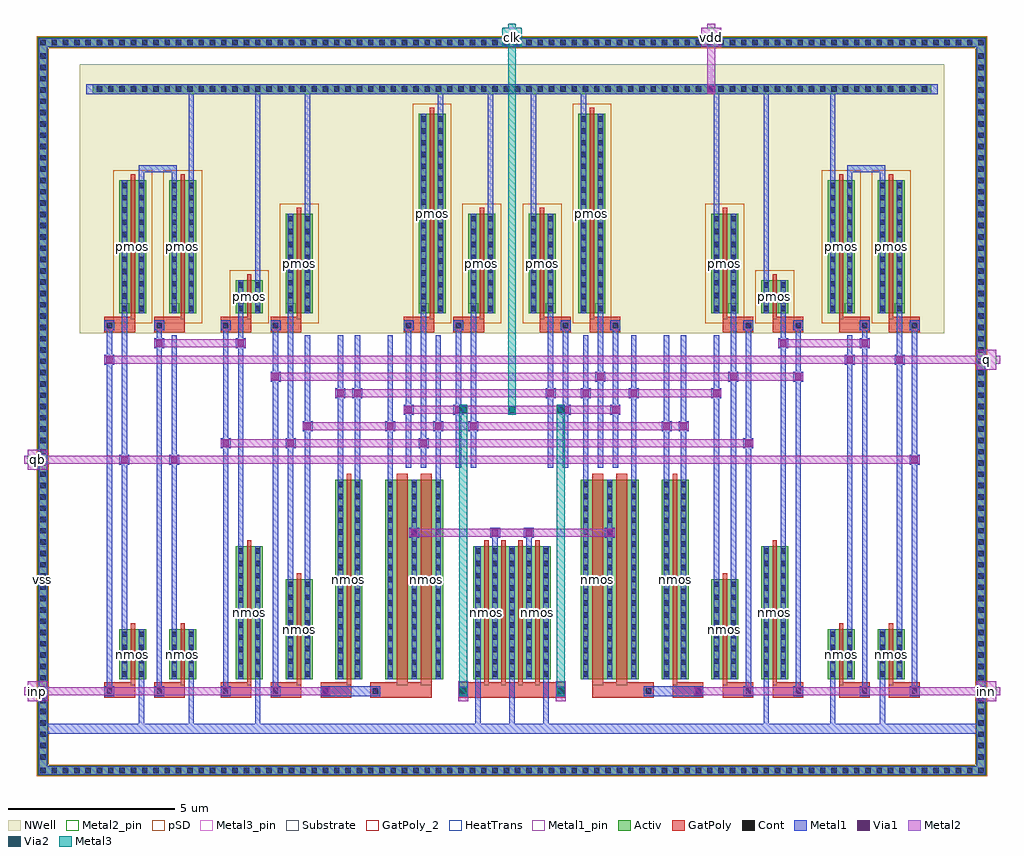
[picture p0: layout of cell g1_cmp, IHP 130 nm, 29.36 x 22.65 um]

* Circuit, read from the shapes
.subckt g1_cmp clk inn inp q qb vdd vss
XM1 vss q qb vss sg13_lv_nmos w=1.5u l=0.13u
XM2 vss n1 qb vss sg13_lv_nmos w=1.5u l=0.13u
XM3 vss n2 n1 vss sg13_lv_nmos w=4u l=0.13u
XM4 n3 n4 n2 vss sg13_lv_nmos w=3u l=0.13u
XM5 n5 inp n5 vss sg13_lv_nmos w=6u l=0.13u
XM6 n6 inp n3 vss sg13_lv_nmos w=6u l=0.34u m=2
XM7 n6 clk vss vss sg13_lv_nmos w=4u l=0.13u m=4
XM8 n6 inn n5 vss sg13_lv_nmos w=6u l=0.34u m=2
XM9 n3 inn n3 vss sg13_lv_nmos w=6u l=0.13u
XM10 n4 n2 n5 vss sg13_lv_nmos w=3u l=0.13u
XM11 n7 n4 vss vss sg13_lv_nmos w=4u l=0.13u
XM12 q n7 vss vss sg13_lv_nmos w=1.5u l=0.13u
XM13 q qb vss vss sg13_lv_nmos w=1.5u l=0.13u
XM14 n8 q qb vdd sg13_lv_pmos w=4u l=0.13u
XM15 vdd n1 n8 vdd sg13_lv_pmos w=4u l=0.13u
XM16 vdd n2 n1 vdd sg13_lv_pmos w=1u l=0.13u
XM17 vdd n4 n2 vdd sg13_lv_pmos w=3u l=0.13u
XM18 vdd clk n2 vdd sg13_lv_pmos w=6u l=0.13u
XM19 vdd clk n3 vdd sg13_lv_pmos w=3u l=0.13u
XM20 n5 clk vdd vdd sg13_lv_pmos w=3u l=0.13u
XM21 n4 clk vdd vdd sg13_lv_pmos w=6u l=0.13u
XM22 n4 n2 vdd vdd sg13_lv_pmos w=3u l=0.13u
XM23 n7 n4 vdd vdd sg13_lv_pmos w=1u l=0.13u
XM24 n9 n7 vdd vdd sg13_lv_pmos w=4u l=0.13u
XM25 q qb n9 vdd sg13_lv_pmos w=4u l=0.13u
.ends

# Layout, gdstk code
import gdstk
lib = gdstk.Library(unit=1e-6, precision=1e-09)
def R(c, l, rs):  # rectangles x0, y0, x1, y1
    for r in rs: c.add(gdstk.rectangle(r[:2], r[2:], *l))
def A(c, l, x, y, w, h, nx, ny, dx, dy):  # array of equal rectangles
    R(c, l, [(x+i*dx, y+j*dy, x+i*dx+w, y+j*dy+h) for i in range(nx) for j in range(ny)])
def P(c, l, *ps):  # polygons
    for p in ps: c.add(gdstk.Polygon(p, *l))
Activ = (1, 0)
GatPoly = (5, 0)
GatPoly_2 = (5, 2)
Cont = (6, 0)
Metal1 = (8, 0)
Metal1_pin = (8, 2)
Metal2 = (10, 0)
Metal2_pin = (10, 2)
pSD = (14, 0)
Via1 = (19, 0)
Via2 = (29, 0)
Metal3 = (30, 0)
Metal3_pin = (30, 2)
NWell = (31, 0)
Substrate = (40, 0)
HeatTrans = (51, 0)

g1_cmp = lib.new_cell('g1_cmp')
A(g1_cmp, Activ, -3.81, 0, 0.3, 0.3, 3, 1, 0.72, 0)
A(g1_cmp, Activ, -1.17, 0, 0.3, 0.3, 5, 1, 0.51, 0)
A(g1_cmp, Activ, 2.07, 0, 0.3, 0.3, 3, 1, 0.72, 0)
R(g1_cmp, Activ, [(-11.81,0,-11.51,0.3), (-11.81,0,-11,1.5), (-11.3,0,-11,0.3), (-10.31,0,-10.01,0.3), (-10.31,0,-9.5,1.5), (-9.8,0,-9.5,0.3), (-8.31,0,-8.01,0.3), (-8.31,0,-7.5,4), (-7.8,0,-7.5,0.3), (-6.81,0,-6.51,0.3), (-6.81,0,-6,3), (-6.3,0,-6,0.3), (-5.31,0,-5.01,0.3), (-5.31,0,-4.5,6), (-4.8,0,-4.5,0.3), (-3.81,0,-2.07,6), (-1.17,0,1.17,4), (2.07,0,3.81,6), (4.5,0,4.8,0.3), (4.5,0,5.31,6), (5.01,0,5.31,0.3), (6,0,6.3,0.3), (6,0,6.81,3), (6.51,0,6.81,0.3), (7.5,0,7.8,0.3), (7.5,0,8.31,4), (8.01,0,8.31,0.3), (9.5,0,9.8,0.3), (9.5,0,10.31,1.5), (10.01,0,10.31,0.3), (11,0,11.3,0.3), (11,0,11.81,1.5), (11.51,0,11.81,0.3), (-11.81,11,-11.51,11.3), (-11.81,11,-11,15), (-11.3,11,-11,11.3), (-10.31,11,-10.01,11.3), (-10.31,11,-9.5,15), (-9.8,11,-9.5,11.3), (-8.31,11,-8.01,11.3), (-8.31,11,-7.5,12), (-7.8,11,-7.5,11.3), (-6.81,11,-6.51,11.3), (-6.81,11,-6,14), (-6.3,11,-6,11.3), (-2.81,11,-2.51,11.3), (-2.81,11,-2,17), (-2.3,11,-2,11.3), (-1.31,11,-1.01,11.3), (-1.31,11,-0.5,14), (-0.8,11,-0.5,11.3), (0.5,11,0.8,11.3), (0.5,11,1.31,14), (1.01,11,1.31,11.3), (2,11,2.3,11.3), (2,11,2.81,17), (2.51,11,2.81,11.3), (6,11,6.3,11.3), (6,11,6.81,14), (6.51,11,6.81,11.3), (7.5,11,7.8,11.3), (7.5,11,8.31,12), (8.01,11,8.31,11.3), (9.5,11,9.8,11.3), (9.5,11,10.31,15), (10.01,11,10.31,11.3), (11,11,11.3,11.3), (11,11,11.81,15), (11.51,11,11.81,11.3), (-12.61,17.6,12.61,17.9)])
P(g1_cmp, Activ, [(-14.26,-2.9),(-14.26,19),(-13.96,19),(-13.96,-2.6),(13.96,-2.6),(13.96,19),(-14.26,19),(-14.26,19.3),(14.26,19.3),(14.26,-2.9)])
A(g1_cmp, GatPoly, -8.76, -0.56, 0.92, 0.46, 3, 1, 1.5, 0)
A(g1_cmp, GatPoly, 4.84, -0.56, 0.92, 0.46, 3, 1, 1.5, 0)
A(g1_cmp, GatPoly, -0.83, -0.18, 0.13, 4.36, 4, 1, 0.51, 0)
R(g1_cmp, GatPoly, [(-12.26,-0.56,-11.34,-0.1), (-10.76,-0.56,-9.84,-0.1), (-4.26,-0.56,-2.41,-0.1), (-1.62,-0.56,0.83,-0.1), (-0.83,-0.56,1.62,-0.1), (2.41,-0.56,4.26,-0.1), (9.84,-0.56,10.76,-0.1), (11.34,-0.56,12.26,-0.1), (-11.47,-0.18,-11.34,1.68), (-9.97,-0.18,-9.84,1.68), (-7.97,-0.18,-7.84,4.18), (-6.47,-0.18,-6.34,3.18), (-4.97,-0.18,-4.84,6.18), (-3.47,-0.18,-3.13,6.18), (-2.75,-0.18,-2.41,6.18), (2.41,-0.18,2.75,6.18), (3.13,-0.18,3.47,6.18), (4.84,-0.18,4.97,6.18), (6.34,-0.18,6.47,3.18), (7.84,-0.18,7.97,4.18), (9.84,-0.18,9.97,1.68), (11.34,-0.18,11.47,1.68), (-12.26,10.44,-11.34,10.9), (-10.76,10.44,-9.84,10.9), (-8.76,10.44,-7.84,10.9), (-7.26,10.44,-6.34,10.9), (-3.26,10.44,-2.34,10.9), (-1.76,10.44,-0.84,10.9), (0.84,10.44,1.76,10.9), (2.34,10.44,3.26,10.9), (6.34,10.44,7.26,10.9), (7.84,10.44,8.76,10.9), (9.84,10.44,10.76,10.9), (11.34,10.44,12.26,10.9), (-11.47,10.82,-11.34,15.18), (-11.47,10.82,-11.34,15.18), (-9.97,10.82,-9.84,15.18), (-9.97,10.82,-9.84,15.18), (-7.97,10.82,-7.84,12.18), (-7.97,10.82,-7.84,12.18), (-6.47,10.82,-6.34,14.18), (-6.47,10.82,-6.34,14.18), (-2.47,10.82,-2.34,17.18), (-2.47,10.82,-2.34,17.18), (-0.97,10.82,-0.84,14.18), (-0.97,10.82,-0.84,14.18), (0.84,10.82,0.97,14.18), (0.84,10.82,0.97,14.18), (2.34,10.82,2.47,17.18), (2.34,10.82,2.47,17.18), (6.34,10.82,6.47,14.18), (6.34,10.82,6.47,14.18), (7.84,10.82,7.97,12.18), (7.84,10.82,7.97,12.18), (9.84,10.82,9.97,15.18), (9.84,10.82,9.97,15.18), (11.34,10.82,11.47,15.18), (11.34,10.82,11.47,15.18)])
R(g1_cmp, GatPoly_2, [(-11.47,-0.18,-11.34,1.68), (-9.97,-0.18,-9.84,1.68), (-7.97,-0.18,-7.84,4.18), (-6.47,-0.18,-6.34,3.18), (-4.97,-0.18,-4.84,6.18), (-2.75,-0.18,-2.41,6.18), (-0.83,-0.18,-0.7,4.18), (2.41,-0.18,2.75,6.18), (4.84,-0.18,4.97,6.18), (6.34,-0.18,6.47,3.18), (7.84,-0.18,7.97,4.18), (9.84,-0.18,9.97,1.68), (11.34,-0.18,11.47,1.68)])
A(g1_cmp, Cont, -14.19, -2.83, 0.16, 0.16, 84, 2, 0.34, 21.9)
A(g1_cmp, Cont, -14.19, -2.42, 0.16, 0.16, 1, 63, 0, 0.34)
A(g1_cmp, Cont, 14.03, -2.42, 0.16, 0.16, 1, 63, 0, 0.34)
A(g1_cmp, Cont, -8.69, -0.44, 0.16, 0.16, 4, 1, 1.5, 0)
A(g1_cmp, Cont, 4.03, -0.44, 0.16, 0.16, 4, 1, 1.5, 0)
A(g1_cmp, Cont, -11.74, 0.07, 0.16, 0.16, 1, 4, 0, 0.4)
A(g1_cmp, Cont, -11.23, 0.07, 0.16, 0.16, 1, 4, 0, 0.4)
A(g1_cmp, Cont, -10.24, 0.07, 0.16, 0.16, 1, 4, 0, 0.4)
A(g1_cmp, Cont, -9.73, 0.07, 0.16, 0.16, 1, 4, 0, 0.4)
A(g1_cmp, Cont, -8.24, 0.07, 0.16, 0.16, 1, 11, 0, 0.37)
A(g1_cmp, Cont, -7.73, 0.07, 0.16, 0.16, 1, 11, 0, 0.37)
A(g1_cmp, Cont, -6.74, 0.07, 0.16, 0.16, 1, 7, 0, 0.385)
A(g1_cmp, Cont, -6.23, 0.07, 0.16, 0.16, 1, 7, 0, 0.385)
A(g1_cmp, Cont, -5.24, 0.07, 0.16, 0.16, 1, 4, 0, 0.355)
A(g1_cmp, Cont, -4.73, 0.07, 0.16, 0.16, 1, 4, 0, 0.355)
A(g1_cmp, Cont, -3.74, 0.07, 0.16, 0.16, 3, 4, 0.72, 0.355)
A(g1_cmp, Cont, -1.1, 0.07, 0.16, 0.16, 5, 11, 0.51, 0.37)
A(g1_cmp, Cont, 2.14, 0.07, 0.16, 0.16, 3, 4, 0.72, 0.355)
A(g1_cmp, Cont, 4.57, 0.07, 0.16, 0.16, 1, 4, 0, 0.355)
A(g1_cmp, Cont, 5.08, 0.07, 0.16, 0.16, 1, 4, 0, 0.355)
A(g1_cmp, Cont, 6.07, 0.07, 0.16, 0.16, 1, 7, 0, 0.385)
A(g1_cmp, Cont, 6.58, 0.07, 0.16, 0.16, 1, 7, 0, 0.385)
A(g1_cmp, Cont, 7.57, 0.07, 0.16, 0.16, 1, 11, 0, 0.37)
A(g1_cmp, Cont, 8.08, 0.07, 0.16, 0.16, 1, 11, 0, 0.37)
A(g1_cmp, Cont, 9.57, 0.07, 0.16, 0.16, 1, 4, 0, 0.4)
A(g1_cmp, Cont, 10.08, 0.07, 0.16, 0.16, 1, 4, 0, 0.4)
A(g1_cmp, Cont, 11.07, 0.07, 0.16, 0.16, 1, 4, 0, 0.4)
A(g1_cmp, Cont, 11.58, 0.07, 0.16, 0.16, 1, 4, 0, 0.4)
A(g1_cmp, Cont, -5.24, 1.495, 0.16, 0.16, 1, 4, 0, 0.355)
A(g1_cmp, Cont, -4.73, 1.495, 0.16, 0.16, 1, 4, 0, 0.355)
A(g1_cmp, Cont, -3.74, 1.495, 0.16, 0.16, 3, 4, 0.72, 0.355)
A(g1_cmp, Cont, 2.14, 1.495, 0.16, 0.16, 3, 4, 0.72, 0.355)
A(g1_cmp, Cont, 4.57, 1.495, 0.16, 0.16, 1, 4, 0, 0.355)
A(g1_cmp, Cont, 5.08, 1.495, 0.16, 0.16, 1, 4, 0, 0.355)
A(g1_cmp, Cont, -5.24, 2.92, 0.16, 0.16, 1, 4, 0, 0.355)
A(g1_cmp, Cont, -4.73, 2.92, 0.16, 0.16, 1, 4, 0, 0.355)
A(g1_cmp, Cont, -3.74, 2.92, 0.16, 0.16, 3, 4, 0.72, 0.355)
A(g1_cmp, Cont, 2.14, 2.92, 0.16, 0.16, 3, 4, 0.72, 0.355)
A(g1_cmp, Cont, 4.57, 2.92, 0.16, 0.16, 1, 4, 0, 0.355)
A(g1_cmp, Cont, 5.08, 2.92, 0.16, 0.16, 1, 4, 0, 0.355)
A(g1_cmp, Cont, -5.24, 4.345, 0.16, 0.16, 1, 4, 0, 0.355)
A(g1_cmp, Cont, -4.73, 4.345, 0.16, 0.16, 1, 4, 0, 0.355)
A(g1_cmp, Cont, -3.74, 4.345, 0.16, 0.16, 3, 4, 0.72, 0.355)
A(g1_cmp, Cont, 2.14, 4.345, 0.16, 0.16, 3, 4, 0.72, 0.355)
A(g1_cmp, Cont, 4.57, 4.345, 0.16, 0.16, 1, 4, 0, 0.355)
A(g1_cmp, Cont, 5.08, 4.345, 0.16, 0.16, 1, 4, 0, 0.355)
A(g1_cmp, Cont, -3.74, 5.77, 0.16, 0.16, 3, 1, 0.72, 0)
A(g1_cmp, Cont, 2.14, 5.77, 0.16, 0.16, 3, 1, 0.72, 0)
A(g1_cmp, Cont, -11.74, 11.07, 0.16, 0.16, 1, 11, 0, 0.37)
A(g1_cmp, Cont, -11.23, 11.07, 0.16, 0.16, 1, 11, 0, 0.37)
A(g1_cmp, Cont, -10.24, 11.07, 0.16, 0.16, 1, 11, 0, 0.37)
A(g1_cmp, Cont, -9.73, 11.07, 0.16, 0.16, 1, 11, 0, 0.37)
A(g1_cmp, Cont, -8.24, 11.07, 0.16, 0.16, 1, 3, 0, 0.35)
A(g1_cmp, Cont, -7.73, 11.07, 0.16, 0.16, 1, 3, 0, 0.35)
A(g1_cmp, Cont, -6.74, 11.07, 0.16, 0.16, 1, 7, 0, 0.385)
A(g1_cmp, Cont, -6.23, 11.07, 0.16, 0.16, 1, 7, 0, 0.385)
A(g1_cmp, Cont, -2.74, 11.07, 0.16, 0.16, 1, 4, 0, 0.355)
A(g1_cmp, Cont, -2.23, 11.07, 0.16, 0.16, 1, 4, 0, 0.355)
A(g1_cmp, Cont, -1.24, 11.07, 0.16, 0.16, 1, 7, 0, 0.385)
A(g1_cmp, Cont, -0.73, 11.07, 0.16, 0.16, 1, 7, 0, 0.385)
A(g1_cmp, Cont, 0.57, 11.07, 0.16, 0.16, 1, 7, 0, 0.385)
A(g1_cmp, Cont, 1.08, 11.07, 0.16, 0.16, 1, 7, 0, 0.385)
A(g1_cmp, Cont, 2.07, 11.07, 0.16, 0.16, 1, 4, 0, 0.355)
A(g1_cmp, Cont, 2.58, 11.07, 0.16, 0.16, 1, 4, 0, 0.355)
A(g1_cmp, Cont, 6.07, 11.07, 0.16, 0.16, 1, 7, 0, 0.385)
A(g1_cmp, Cont, 6.58, 11.07, 0.16, 0.16, 1, 7, 0, 0.385)
A(g1_cmp, Cont, 7.57, 11.07, 0.16, 0.16, 1, 3, 0, 0.35)
A(g1_cmp, Cont, 8.08, 11.07, 0.16, 0.16, 1, 3, 0, 0.35)
A(g1_cmp, Cont, 9.57, 11.07, 0.16, 0.16, 1, 11, 0, 0.37)
A(g1_cmp, Cont, 10.08, 11.07, 0.16, 0.16, 1, 11, 0, 0.37)
A(g1_cmp, Cont, 11.07, 11.07, 0.16, 0.16, 1, 11, 0, 0.37)
A(g1_cmp, Cont, 11.58, 11.07, 0.16, 0.16, 1, 11, 0, 0.37)
A(g1_cmp, Cont, -2.74, 12.495, 0.16, 0.16, 1, 4, 0, 0.355)
A(g1_cmp, Cont, -2.23, 12.495, 0.16, 0.16, 1, 4, 0, 0.355)
A(g1_cmp, Cont, 2.07, 12.495, 0.16, 0.16, 1, 4, 0, 0.355)
A(g1_cmp, Cont, 2.58, 12.495, 0.16, 0.16, 1, 4, 0, 0.355)
A(g1_cmp, Cont, -2.74, 13.92, 0.16, 0.16, 1, 4, 0, 0.355)
A(g1_cmp, Cont, -2.23, 13.92, 0.16, 0.16, 1, 4, 0, 0.355)
A(g1_cmp, Cont, 2.07, 13.92, 0.16, 0.16, 1, 4, 0, 0.355)
A(g1_cmp, Cont, 2.58, 13.92, 0.16, 0.16, 1, 4, 0, 0.355)
A(g1_cmp, Cont, -2.74, 15.345, 0.16, 0.16, 1, 4, 0, 0.355)
A(g1_cmp, Cont, -2.23, 15.345, 0.16, 0.16, 1, 4, 0, 0.355)
A(g1_cmp, Cont, 2.07, 15.345, 0.16, 0.16, 1, 4, 0, 0.355)
A(g1_cmp, Cont, 2.58, 15.345, 0.16, 0.16, 1, 4, 0, 0.355)
A(g1_cmp, Cont, -12.49, 17.67, 0.16, 0.16, 74, 1, 0.34, 0)
R(g1_cmp, Cont, [(-12.19,-0.44,-12.03,-0.28), (-10.69,-0.44,-10.53,-0.28), (-1.55,-0.44,-1.39,-0.28), (1.39,-0.44,1.55,-0.28), (10.53,-0.44,10.69,-0.28), (12.03,-0.44,12.19,-0.28), (-6.74,2.77,-6.58,2.93), (-6.23,2.77,-6.07,2.93), (6.07,2.77,6.23,2.93), (6.58,2.77,6.74,2.93), (-5.24,5.77,-5.08,5.93), (-4.73,5.77,-4.57,5.93), (4.57,5.77,4.73,5.93), (5.08,5.77,5.24,5.93), (-12.19,10.56,-12.03,10.72), (-10.69,10.56,-10.53,10.72), (-8.69,10.56,-8.53,10.72), (-7.19,10.56,-7.03,10.72), (-3.19,10.56,-3.03,10.72), (-1.69,10.56,-1.53,10.72), (1.53,10.56,1.69,10.72), (3.03,10.56,3.19,10.72), (7.03,10.56,7.19,10.72), (8.53,10.56,8.69,10.72), (10.53,10.56,10.69,10.72), (12.03,10.56,12.19,10.72), (-6.74,13.77,-6.58,13.93), (-6.23,13.77,-6.07,13.93), (-1.24,13.77,-1.08,13.93), (-0.73,13.77,-0.57,13.93), (0.57,13.77,0.73,13.93), (1.08,13.77,1.24,13.93), (6.07,13.77,6.23,13.93), (6.58,13.77,6.74,13.93), (-2.74,16.77,-2.58,16.93), (-2.23,16.77,-2.07,16.93), (2.07,16.77,2.23,16.93), (2.58,16.77,2.74,16.93)])
A(g1_cmp, Metal1, -1.1, -1.5, 0.16, 1.5, 3, 1, 1.02, 0)
A(g1_cmp, Metal1, -8.76, -0.51, 0.3, 0.3, 3, 1, 1.5, 0)
A(g1_cmp, Metal1, 5.46, -0.51, 0.3, 0.3, 3, 1, 1.5, 0)
A(g1_cmp, Metal1, -3.74, 0, 0.16, 6, 3, 1, 0.72, 0)
A(g1_cmp, Metal1, -1.1, 0, 0.16, 4, 5, 1, 0.51, 0)
A(g1_cmp, Metal1, 2.14, 0, 0.16, 6, 3, 1, 0.72, 0)
R(g1_cmp, Metal1, [(-14.24,-1.65,-12.56,-1.35), (-12.66,-1.65,12.66,-1.35), (12.56,-1.65,14.24,-1.35), (-11.23,-1.5,-11.07,0), (-9.73,-1.5,-9.57,0), (-7.73,-1.5,-7.57,0), (7.57,-1.5,7.73,0), (9.57,-1.5,9.73,0), (11.07,-1.5,11.23,0), (-12.26,-0.51,-11.96,-0.21), (-10.76,-0.51,-10.46,-0.21), (-5.76,-0.51,-5.46,-0.21), (-5.76,-0.51,-3.96,-0.21), (-4.26,-0.51,-3.96,-0.21), (-1.62,-0.51,-1.32,-0.21), (-1.62,-0.51,-1.32,-0.21), (1.32,-0.51,1.62,-0.21), (1.32,-0.51,1.62,-0.21), (3.96,-0.51,4.26,-0.21), (3.96,-0.51,5.76,-0.21), (5.46,-0.51,5.76,-0.21), (10.46,-0.51,10.76,-0.21), (11.96,-0.51,12.26,-0.21), (-12.19,-0.21,-12.03,10.35), (-10.69,-0.21,-10.53,10.35), (-8.69,-0.21,-8.53,10.35), (-7.19,-0.21,-7.03,10.35), (7.03,-0.21,7.19,10.35), (8.53,-0.21,8.69,10.35), (10.53,-0.21,10.69,10.35), (12.03,-0.21,12.19,10.35), (-11.74,0,-11.58,1.5), (-11.23,0,-11.07,1.5), (-10.24,0,-10.08,1.5), (-9.73,0,-9.57,1.5), (-8.24,0,-8.08,4), (-7.73,0,-7.57,4), (-6.74,0,-6.58,3), (-6.23,0,-6.07,3), (-5.24,0,-5.08,6), (-4.73,0,-4.57,6), (4.57,0,4.73,6), (5.08,0,5.24,6), (6.07,0,6.23,3), (6.58,0,6.74,3), (7.57,0,7.73,4), (8.08,0,8.24,4), (9.57,0,9.73,1.5), (10.08,0,10.24,1.5), (11.07,0,11.23,1.5), (11.58,0,11.74,1.5), (-11.74,1.5,-11.58,10.35), (-10.24,1.5,-10.08,10.35), (10.08,1.5,10.24,10.35), (11.58,1.5,11.74,10.35), (-14.24,2,-13.98,4), (-6.74,3,-6.58,10.35), (-6.23,3,-6.07,10.35), (6.07,3,6.23,10.35), (6.58,3,6.74,10.35), (-8.24,4,-8.08,10.35), (-0.59,4,-0.43,4.55), (0.43,4,0.59,4.55), (8.08,4,8.24,10.35), (-3.09,4.25,-2.79,4.55), (-0.66,4.25,-0.36,4.55), (0.36,4.25,0.66,4.55), (2.79,4.25,3.09,4.55), (-5.24,6,-5.08,10.35), (-4.73,6,-4.57,10.35), (-3.74,6,-3.58,10.35), (-2.3,6,-2.14,10.35), (2.14,6,2.3,10.35), (3.58,6,3.74,10.35), (4.57,6,4.73,10.35), (5.08,6,5.24,10.35), (-12.19,6.35,-12.03,10.49), (-11.74,6.35,-11.58,11), (-10.69,6.35,-10.53,10.49), (-8.69,6.35,-8.53,10.49), (-8.24,6.35,-8.08,11), (-7.19,6.35,-7.03,10.49), (-6.74,6.35,-6.58,11), (-3.19,6.35,-3.03,10.49), (-2.74,6.35,-2.58,11), (-1.69,6.35,-1.53,10.49), (-1.24,6.35,-1.08,11), (1.08,6.35,1.24,11), (1.53,6.35,1.69,10.49), (2.58,6.35,2.74,11), (3.03,6.35,3.19,10.49), (6.58,6.35,6.74,11), (7.03,6.35,7.19,10.49), (8.08,6.35,8.24,11), (8.53,6.35,8.69,10.49), (10.53,6.35,10.69,10.49), (11.58,6.35,11.74,11), (12.03,6.35,12.19,10.49), (-11.81,6.45,-11.51,6.75), (-11.81,6.45,-11.51,6.75), (-10.31,6.45,-10.01,6.75), (11.96,6.45,12.26,6.75), (11.96,6.45,12.26,6.75), (-8.76,6.95,-8.46,7.25), (-8.76,6.95,-8.46,7.25), (-6.81,6.95,-6.51,7.25), (-6.81,6.95,-6.51,7.25), (-2.81,6.95,-2.51,7.25), (6.96,6.95,7.26,7.25), (6.96,6.95,7.26,7.25), (-6.3,7.45,-6,7.75), (-3.81,7.45,-3.51,7.75), (-2.37,7.45,-2.07,7.75), (-1.31,7.45,-1.01,7.75), (4.5,7.45,4.8,7.75), (5.01,7.45,5.31,7.75), (-3.26,7.95,-2.96,8.25), (-1.76,7.95,-1.46,8.25), (1.46,7.95,1.76,8.25), (2.96,7.95,3.26,8.25), (-5.31,8.45,-5.01,8.75), (-4.8,8.45,-4.5,8.75), (1.01,8.45,1.31,8.75), (2.07,8.45,2.37,8.75), (3.51,8.45,3.81,8.75), (6,8.45,6.3,8.75), (-7.26,8.95,-6.96,9.25), (-7.26,8.95,-6.96,9.25), (2.51,8.95,2.81,9.25), (6.51,8.95,6.81,9.25), (6.51,8.95,6.81,9.25), (8.46,8.95,8.76,9.25), (8.46,8.95,8.76,9.25), (-12.26,9.45,-11.96,9.75), (-12.26,9.45,-11.96,9.75), (10.01,9.45,10.31,9.75), (11.51,9.45,11.81,9.75), (11.51,9.45,11.81,9.75), (-10.76,9.95,-10.46,10.25), (-10.76,9.95,-10.46,10.25), (-8.31,9.95,-8.01,10.25), (-8.31,9.95,-8.01,10.25), (8.01,9.95,8.31,10.25), (8.01,9.95,8.31,10.25), (10.46,9.95,10.76,10.25), (10.46,9.95,10.76,10.25), (-12.26,10.49,-11.96,10.79), (-10.76,10.49,-10.46,10.79), (-8.76,10.49,-8.46,10.79), (-7.26,10.49,-6.96,10.79), (-3.26,10.49,-2.96,10.79), (-1.76,10.49,-1.46,10.79), (1.46,10.49,1.76,10.79), (2.96,10.49,3.26,10.79), (6.96,10.49,7.26,10.79), (8.46,10.49,8.76,10.79), (10.46,10.49,10.76,10.79), (11.96,10.49,12.26,10.79), (-11.74,11,-11.58,15), (-11.74,11,-11.58,15), (-11.23,11,-11.07,15), (-11.23,11,-11.07,15), (-10.24,11,-10.08,15), (-10.24,11,-10.08,15), (-9.73,11,-9.57,15), (-9.73,11,-9.57,15), (-8.24,11,-8.08,12), (-8.24,11,-8.08,12), (-7.73,11,-7.57,12), (-7.73,11,-7.57,12), (-6.74,11,-6.58,14), (-6.74,11,-6.58,14), (-6.23,11,-6.07,14), (-6.23,11,-6.07,14), (-2.74,11,-2.58,17), (-2.74,11,-2.58,17), (-2.23,11,-2.07,17), (-2.23,11,-2.07,17), (-1.24,11,-1.08,14), (-1.24,11,-1.08,14), (-0.73,11,-0.57,14), (-0.73,11,-0.57,14), (0.57,11,0.73,14), (0.57,11,0.73,14), (1.08,11,1.24,14), (1.08,11,1.24,14), (2.07,11,2.23,17), (2.07,11,2.23,17), (2.58,11,2.74,17), (2.58,11,2.74,17), (6.07,11,6.23,14), (6.07,11,6.23,14), (6.58,11,6.74,14), (6.58,11,6.74,14), (7.57,11,7.73,12), (7.57,11,7.73,12), (8.08,11,8.24,12), (8.08,11,8.24,12), (9.57,11,9.73,15), (9.57,11,9.73,15), (10.08,11,10.24,15), (10.08,11,10.24,15), (11.07,11,11.23,15), (11.07,11,11.23,15), (11.58,11,11.74,15), (11.58,11,11.74,15), (-7.73,12,-7.57,17.75), (7.57,12,7.73,17.75), (-6.23,14,-6.07,17.75), (-0.73,14,-0.57,17.75), (0.57,14,0.73,17.75), (6.07,14,6.23,17.75), (-11.23,15,-11.07,15.45), (-10.24,15,-10.08,15.45), (-9.73,15,-9.57,17.75), (9.57,15,9.73,17.75), (10.08,15,10.24,15.45), (11.07,15,11.23,15.45), (-11.23,15.25,-10.08,15.45), (10.08,15.25,11.23,15.45), (-2.23,17,-2.07,17.75), (2.07,17,2.23,17.75), (-12.81,17.6,12.81,17.9), (-12.61,17.6,12.61,17.9), (5.85,17.6,6.15,17.9)])
P(g1_cmp, Metal1, [(-14.24,-2.88),(-14.24,19.02),(-13.98,19.02),(-13.98,-2.62),(13.98,-2.62),(13.98,19.02),(-14.24,19.02),(-14.24,19.28),(14.24,19.28),(14.24,-2.88)])
R(g1_cmp, Metal1_pin, [(-11.74,0,-11.58,1.5), (-11.23,0,-11.07,1.5), (-10.24,0,-10.08,1.5), (-9.73,0,-9.57,1.5), (-8.24,0,-8.08,4), (-7.73,0,-7.57,4), (-6.74,0,-6.58,3), (-6.23,0,-6.07,3), (-5.24,0,-5.08,6), (-4.73,0,-4.57,6), (-3.02,0,-2.86,6), (-2.3,0,-2.14,6), (-1.1,0,-0.94,4), (-0.59,0,-0.43,4), (2.14,0,2.3,6), (2.86,0,3.02,6), (4.57,0,4.73,6), (5.08,0,5.24,6), (6.07,0,6.23,3), (6.58,0,6.74,3), (7.57,0,7.73,4), (8.08,0,8.24,4), (9.57,0,9.73,1.5), (10.08,0,10.24,1.5), (11.07,0,11.23,1.5), (11.58,0,11.74,1.5), (-14.24,2,-13.98,4)])
A(g1_cmp, Metal2, -1.62, 7.98, 0.3, 0.24, 3, 1, 1.47, 0)
R(g1_cmp, Metal2, [(-14.56,-0.66,-13.96,-0.06), (-1.62,-0.66,-1.32,-0.06), (1.32,-0.66,1.62,-0.06), (13.96,-0.66,14.56,-0.06), (-1.62,-0.51,-1.32,-0.21), (-1.62,-0.51,-1.32,-0.21), (1.32,-0.51,1.62,-0.21), (1.32,-0.51,1.62,-0.21), (-14.68,-0.48,-5.49,-0.24), (-5.76,-0.48,-5.46,-0.24), (5.46,-0.48,5.76,-0.24), (5.49,-0.48,14.68,-0.24), (-3.09,4.28,-2.79,4.52), (-2.94,4.28,2.94,4.52), (-0.66,4.28,-0.36,4.52), (0.36,4.28,0.66,4.52), (2.79,4.28,3.09,4.52), (-14.56,6.3,-13.96,6.9), (-14.68,6.48,12.23,6.72), (-11.81,6.48,-11.51,6.72), (-11.81,6.48,-11.51,6.72), (-11.66,6.48,12.11,6.72), (-10.31,6.48,-10.01,6.72), (11.96,6.48,12.26,6.72), (11.96,6.48,12.26,6.72), (-8.76,6.98,-8.46,7.22), (-8.76,6.98,-8.46,7.22), (-8.61,6.98,7.11,7.22), (-6.81,6.98,-6.51,7.22), (-6.81,6.98,-6.51,7.22), (-2.81,6.98,-2.51,7.22), (6.96,6.98,7.26,7.22), (6.96,6.98,7.26,7.22), (-6.3,7.48,-6,7.72), (-6.15,7.48,5.16,7.72), (-3.81,7.48,-3.51,7.72), (-2.37,7.48,-2.07,7.72), (-1.31,7.48,-1.01,7.72), (4.5,7.48,4.8,7.72), (5.01,7.48,5.31,7.72), (-3.26,7.98,-2.96,8.22), (-3.11,7.98,3.11,8.22), (-1.76,7.98,-1.46,8.22), (1.46,7.98,1.76,8.22), (2.96,7.98,3.26,8.22), (-5.31,8.48,-5.01,8.72), (-5.16,8.48,6.15,8.72), (-4.8,8.48,-4.5,8.72), (1.01,8.48,1.31,8.72), (2.07,8.48,2.37,8.72), (3.51,8.48,3.81,8.72), (6,8.48,6.3,8.72), (-7.26,8.98,-6.96,9.22), (-7.26,8.98,-6.96,9.22), (-7.11,8.98,8.61,9.22), (2.51,8.98,2.81,9.22), (6.51,8.98,6.81,9.22), (6.51,8.98,6.81,9.22), (8.46,8.98,8.76,9.22), (8.46,8.98,8.76,9.22), (13.96,9.3,14.56,9.9), (-12.26,9.48,-11.96,9.72), (-12.26,9.48,-11.96,9.72), (-12.23,9.48,14.68,9.72), (-12.11,9.48,11.66,9.72), (10.01,9.48,10.31,9.72), (11.51,9.48,11.81,9.72), (11.51,9.48,11.81,9.72), (-10.76,9.98,-10.46,10.22), (-10.76,9.98,-10.46,10.22), (-10.61,9.98,-8.16,10.22), (-8.31,9.98,-8.01,10.22), (-8.31,9.98,-8.01,10.22), (8.01,9.98,8.31,10.22), (8.01,9.98,8.31,10.22), (8.16,9.98,10.61,10.22), (10.46,9.98,10.76,10.22), (10.46,9.98,10.76,10.22), (5.88,17.6,6.12,17.9), (5.88,17.63,6.12,19.72), (5.7,19,6.3,19.6)])
R(g1_cmp, Metal2_pin, [(-14.56,-0.66,-13.96,-0.06), (13.96,-0.66,14.56,-0.06), (-14.56,6.3,-13.96,6.9), (13.96,9.3,14.56,9.9), (5.7,19,6.3,19.6)])
R(g1_cmp, pSD, [(-11.99,10.7,-10.82,15.3), (-10.49,10.7,-9.32,15.3), (-8.49,10.7,-7.32,12.3), (-6.99,10.7,-5.82,14.3), (-2.99,10.7,-1.82,17.3), (-1.49,10.7,-0.32,14.3), (0.32,10.7,1.49,14.3), (1.82,10.7,2.99,17.3), (5.82,10.7,6.99,14.3), (7.32,10.7,8.49,12.3), (9.32,10.7,10.49,15.3), (10.82,10.7,11.99,15.3)])
P(g1_cmp, pSD, [(-14.29,-2.93),(-14.29,18.97),(-13.93,18.97),(-13.93,-2.57),(13.93,-2.57),(13.93,18.97),(-14.29,18.97),(-14.29,19.33),(14.29,19.33),(14.29,-2.93)])
R(g1_cmp, Via1, [(-5.705,-0.455,-5.515,-0.265), (-1.565,-0.455,-1.375,-0.265), (1.375,-0.455,1.565,-0.265), (5.515,-0.455,5.705,-0.265), (-3.035,4.305,-2.845,4.495), (-0.605,4.305,-0.415,4.495), (0.415,4.305,0.605,4.495), (2.845,4.305,3.035,4.495), (-11.755,6.505,-11.565,6.695), (-11.755,6.505,-11.565,6.695), (-10.255,6.505,-10.065,6.695), (12.015,6.505,12.205,6.695), (12.015,6.505,12.205,6.695), (-8.705,7.005,-8.515,7.195), (-8.705,7.005,-8.515,7.195), (-6.755,7.005,-6.565,7.195), (-6.755,7.005,-6.565,7.195), (-2.755,7.005,-2.565,7.195), (7.015,7.005,7.205,7.195), (7.015,7.005,7.205,7.195), (-6.245,7.505,-6.055,7.695), (-3.755,7.505,-3.565,7.695), (-2.315,7.505,-2.125,7.695), (-1.255,7.505,-1.065,7.695), (4.555,7.505,4.745,7.695), (5.065,7.505,5.255,7.695), (-3.205,8.005,-3.015,8.195), (-1.705,8.005,-1.515,8.195), (1.515,8.005,1.705,8.195), (3.015,8.005,3.205,8.195), (-5.255,8.505,-5.065,8.695), (-4.745,8.505,-4.555,8.695), (1.065,8.505,1.255,8.695), (2.125,8.505,2.315,8.695), (3.565,8.505,3.755,8.695), (6.055,8.505,6.245,8.695), (-7.205,9.005,-7.015,9.195), (-7.205,9.005,-7.015,9.195), (2.565,9.005,2.755,9.195), (6.565,9.005,6.755,9.195), (6.565,9.005,6.755,9.195), (8.515,9.005,8.705,9.195), (8.515,9.005,8.705,9.195), (-12.205,9.505,-12.015,9.695), (-12.205,9.505,-12.015,9.695), (10.065,9.505,10.255,9.695), (11.565,9.505,11.755,9.695), (11.565,9.505,11.755,9.695), (-10.705,10.005,-10.515,10.195), (-10.705,10.005,-10.515,10.195), (-8.255,10.005,-8.065,10.195), (-8.255,10.005,-8.065,10.195), (8.065,10.005,8.255,10.195), (8.065,10.005,8.255,10.195), (10.515,10.005,10.705,10.195), (10.515,10.005,10.705,10.195), (5.905,17.655,6.095,17.845)])
A(g1_cmp, Via2, -1.565, 8.005, 0.19, 0.19, 3, 1, 1.47, 0)
R(g1_cmp, Via2, [(-1.565,-0.455,-1.375,-0.265), (1.375,-0.455,1.565,-0.265)])
A(g1_cmp, Metal3, -1.59, 7.95, 0.24, 0.3, 3, 1, 1.47, 0)
R(g1_cmp, Metal3, [(-1.59,-0.51,-1.35,-0.21), (1.35,-0.51,1.59,-0.21), (-1.59,-0.48,-1.35,8.22), (1.35,-0.48,1.59,8.22), (-0.12,7.98,0.12,19.72), (-0.3,19,0.3,19.6)])
R(g1_cmp, Metal3_pin, [(-0.3,19,0.3,19.6)])
R(g1_cmp, NWell, [(-13.01,10.4,13.01,18.5), (-12.12,10.69,-10.69,15.31), (-10.62,10.69,-9.19,15.31), (-8.62,10.69,-7.19,12.31), (-7.12,10.69,-5.69,14.31), (-3.12,10.69,-1.69,17.31), (-1.62,10.69,-0.19,14.31), (0.19,10.69,1.62,14.31), (1.69,10.69,3.12,17.31), (5.69,10.69,7.12,14.31), (7.19,10.69,8.62,12.31), (9.19,10.69,10.62,15.31), (10.69,10.69,12.12,15.31)])
R(g1_cmp, Substrate, [(-11.81,11,-11.51,11.3), (-10.31,11,-10.01,11.3), (-8.31,11,-8.01,11.3), (-6.81,11,-6.51,11.3), (-2.81,11,-2.51,11.3), (-1.31,11,-1.01,11.3), (1.01,11,1.31,11.3), (2.51,11,2.81,11.3), (6.51,11,6.81,11.3), (8.01,11,8.31,11.3), (10.01,11,10.31,11.3), (11.51,11,11.81,11.3)])
A(g1_cmp, HeatTrans, -0.83, -0.18, 0.13, 4.36, 4, 1, 0.51, 0)
R(g1_cmp, HeatTrans, [(-11.47,-0.18,-11.34,1.68), (-9.97,-0.18,-9.84,1.68), (-7.97,-0.18,-7.84,4.18), (-6.47,-0.18,-6.34,3.18), (-4.97,-0.18,-4.84,6.18), (-3.47,-0.18,-3.13,6.18), (-2.75,-0.18,-2.41,6.18), (2.41,-0.18,2.75,6.18), (3.13,-0.18,3.47,6.18), (4.84,-0.18,4.97,6.18), (6.34,-0.18,6.47,3.18), (7.84,-0.18,7.97,4.18), (9.84,-0.18,9.97,1.68), (11.34,-0.18,11.47,1.68), (-11.47,10.82,-11.34,15.18), (-9.97,10.82,-9.84,15.18), (-7.97,10.82,-7.84,12.18), (-6.47,10.82,-6.34,14.18), (-2.47,10.82,-2.34,17.18), (-0.97,10.82,-0.84,14.18), (0.84,10.82,0.97,14.18), (2.34,10.82,2.47,17.18), (6.34,10.82,6.47,14.18), (7.84,10.82,7.97,12.18), (9.84,10.82,9.97,15.18), (11.34,10.82,11.47,15.18)])
g1_cmp.add(gdstk.Label('vss', (-14.11,3), layer=8, texttype=25))
g1_cmp.add(gdstk.Label('clk', (0,19.3), layer=30, texttype=25))
g1_cmp.add(gdstk.Label('q', (14.26,9.6), layer=10, texttype=25))
g1_cmp.add(gdstk.Label('qb', (-14.26,6.6), layer=10, texttype=25))
g1_cmp.add(gdstk.Label('inn', (14.26,-0.36), layer=10, texttype=25))
g1_cmp.add(gdstk.Label('inp', (-14.26,-0.36), layer=10, texttype=25))
g1_cmp.add(gdstk.Label('vdd', (6,19.3), layer=10, texttype=25))
g1_cmp.add(gdstk.Label('nmos', (-0.765,2), layer=51, texttype=0))
g1_cmp.add(gdstk.Label('nmos', (-0.255,2), layer=51, texttype=0))
g1_cmp.add(gdstk.Label('nmos', (0.255,2), layer=51, texttype=0))
g1_cmp.add(gdstk.Label('nmos', (0.765,2), layer=51, texttype=0))
g1_cmp.add(gdstk.Label('nmos', (2.58,3), layer=51, texttype=0))
g1_cmp.add(gdstk.Label('nmos', (3.3,3), layer=51, texttype=0))
g1_cmp.add(gdstk.Label('nmos', (4.905,3), layer=51, texttype=0))
g1_cmp.add(gdstk.Label('nmos', (6.405,1.5), layer=51, texttype=0))
g1_cmp.add(gdstk.Label('nmos', (7.905,2), layer=51, texttype=0))
g1_cmp.add(gdstk.Label('nmos', (9.905,0.75), layer=51, texttype=0))
g1_cmp.add(gdstk.Label('nmos', (11.405,0.75), layer=51, texttype=0))
g1_cmp.add(gdstk.Label('nmos', (-2.58,3), layer=51, texttype=0))
g1_cmp.add(gdstk.Label('nmos', (-3.3,3), layer=51, texttype=0))
g1_cmp.add(gdstk.Label('nmos', (-4.905,3), layer=51, texttype=0))
g1_cmp.add(gdstk.Label('nmos', (-6.405,1.5), layer=51, texttype=0))
g1_cmp.add(gdstk.Label('nmos', (-7.905,2), layer=51, texttype=0))
g1_cmp.add(gdstk.Label('nmos', (-9.905,0.75), layer=51, texttype=0))
g1_cmp.add(gdstk.Label('nmos', (-11.405,0.75), layer=51, texttype=0))
g1_cmp.add(gdstk.Label('pmos', (0.905,12.5), layer=51, texttype=0))
g1_cmp.add(gdstk.Label('pmos', (2.405,14), layer=51, texttype=0))
g1_cmp.add(gdstk.Label('pmos', (6.405,12.5), layer=51, texttype=0))
g1_cmp.add(gdstk.Label('pmos', (7.905,11.5), layer=51, texttype=0))
g1_cmp.add(gdstk.Label('pmos', (9.905,13), layer=51, texttype=0))
g1_cmp.add(gdstk.Label('pmos', (11.405,13), layer=51, texttype=0))
g1_cmp.add(gdstk.Label('pmos', (-0.905,12.5), layer=51, texttype=0))
g1_cmp.add(gdstk.Label('pmos', (-2.405,14), layer=51, texttype=0))
g1_cmp.add(gdstk.Label('pmos', (-6.405,12.5), layer=51, texttype=0))
g1_cmp.add(gdstk.Label('pmos', (-7.905,11.5), layer=51, texttype=0))
g1_cmp.add(gdstk.Label('pmos', (-9.905,13), layer=51, texttype=0))
g1_cmp.add(gdstk.Label('pmos', (-11.405,13), layer=51, texttype=0))

lib.write_gds('g1_cmp.gds')
